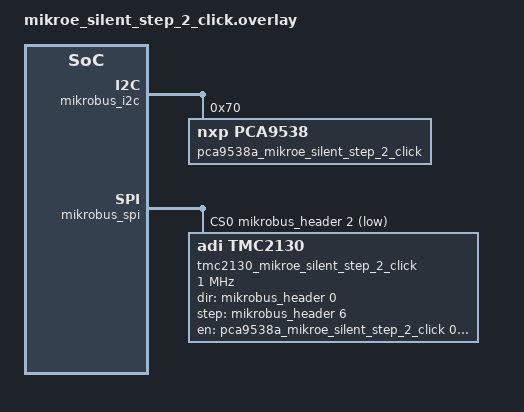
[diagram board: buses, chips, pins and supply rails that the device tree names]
/*
 * Copyright (c) 2025 Navimatix GmbH
 * SPDX-License-Identifier: Apache-2.0
 */

&mikrobus_i2c {
	status = "okay";
	pca9538a_mikroe_silent_step_2_click: pca9538a@70 {
		status = "okay";
		compatible = "nxp,pca9538";

		reg = <0x70>;

		gpio-controller;
		ngpios = <8>;
		#gpio-cells = <2>;

		gpio-reserved-ranges = <3 1>;

		gpio-line-names =
			"EN",
			"FT1",
			"FT2";
	};
};

&mikrobus_spi {
	cs-gpios = <&mikrobus_header 2 GPIO_ACTIVE_LOW>;
	status = "okay";
	tmc2130_mikroe_silent_step_2_click: tmc2130@0 {
		compatible = "adi,tmc2130";
		reg = <0>;
		spi-max-frequency = <DT_FREQ_M(1)>;

		dir-gpios = <&mikrobus_header 0 0>;
		step-gpios = <&mikrobus_header 6 0>;
		en-gpios  = <&pca9538a_mikroe_silent_step_2_click 0 GPIO_ACTIVE_LOW>;
		irun = <20>;
		ihold = <20>;
		en-pwm-mode;
	};
};
